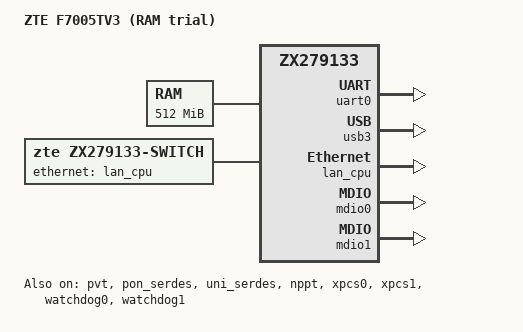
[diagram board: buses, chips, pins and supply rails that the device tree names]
// SPDX-License-Identifier: GPL-2.0-only OR BSD-2-Clause
// Experimental F7005TV3 RAM-only board tree. The ZX279133/512 MiB hardware
// identity comes from the running device tree. Ethernet details are adapted
// provisionally from another ZX279133 board and still require on-device proof.
// No flash partitions or LED GPIO mappings are included.
/dts-v1/;

#include "zx279133.dtsi"

/ {
	model = "ZTE F7005TV3 (RAM trial)";
	compatible = "zte,f7005tv3", "zte,zx279133";

	aliases {
		serial0 = &uart0;
		watchdog0 = &watchdog0;
		watchdog1 = &watchdog1;
	};

	chosen {
		stdout-path = "serial0:115200n8";

		bootargs = "console=ttyAMA0,115200n8 loglevel=8 panic=20";
	};

	memory@80000000 {
		device_type = "memory";
		reg = <0x0 0x80000000 0x0 0x20000000>;
	};

	reserved-memory {
		#address-cells = <2>;
		#size-cells = <2>;
		ranges;

		se_hash_reserved: buffer@9e100000 {
			reg = <0x0 0x9e100000 0x0 0x1000000>;
			no-map;
		};

		idm_reserved: buffer@9d700000 {
			reg = <0x0 0x9d700000 0x0 0xa00000>;
			no-map;
		};

		bmu_reserved: buffer@9c200000 {
			reg = <0x0 0x9c200000 0x0 0x1500000>;
			no-map;
		};

	};

	thermal-zones {
		soc-thermal {
			thermal-sensors = <&pvt>;
		};
	};

};

&uart0 {
	status = "okay";
};

&pvt {
	status = "okay";
};

&usb3 {
	status = "okay";
};

&pon_serdes {
	status = "okay";
};

&uni_serdes {
	status = "okay";
};

&nppt {

	phy-mode = "sgmii";
	phys = <&pon_serdes>, <&uni_serdes>;
	phy-names = "serdes", "lan-serdes";

	pcs-handle = <&xpcs1>;

	zte,np-pool-base = <0xb0000000>;
	zte,np-pool-size = <0x400000>;
	memory-region = <&bmu_reserved>, <&se_hash_reserved>, <&idm_reserved>;
	memory-region-names = "bmu", "se-hash", "idm";

	local-mac-address = [02 00 00 00 00 01];
	status = "okay";

	zx279133,uni-phy-bus = <&mdio0>;

	zx279133,outer-phy-bus = <&mdio1>;

	fixed-link {
		speed = <1000>;
		full-duplex;
	};

	lan_cpu: ethernet-lan-cpu {
		compatible = "zte,zx279133-lan-conduit";

		local-mac-address = [02 00 00 00 00 02];
	};

	switch {
		compatible = "zte,zx279133-switch";

		ports {
			#address-cells = <1>;
			#size-cells = <0>;

			port@4 {
				reg = <4>;
				label = "lan0";
				phy-mode = "internal";

				fixed-link {
					speed = <1000>;
					full-duplex;
				};
			};

			port@5 {
				reg = <5>;
				label = "lan2";
				phy-mode = "internal";

				fixed-link {
					speed = <1000>;
					full-duplex;
				};
			};

			port@6 {
				reg = <6>;
				label = "lan3";
				phy-mode = "internal";

				fixed-link {
					speed = <1000>;
					full-duplex;
				};
			};

			port@7 {
				reg = <7>;
				label = "lan4";
				phy-mode = "internal";

				fixed-link {
					speed = <1000>;
					full-duplex;
				};
			};

			port@8 {
				reg = <8>;
				label = "lan1";

				phy-mode = "2500base-x";

				fixed-link {
					speed = <2500>;
					full-duplex;
				};
			};

			port@9 {
				reg = <9>;
				ethernet = <&lan_cpu>;
				phy-mode = "sgmii";

				fixed-link {
					speed = <1000>;
					full-duplex;
				};
			};
		};
	};
};

&mdio0 {
	status = "okay";
};

&mdio1 {
	status = "okay";

};

&xpcs0 {
	status = "okay";
};

&xpcs1 {
	status = "okay";
};

&watchdog0 {
	status = "okay";
};

&watchdog1 {
	status = "okay";
};

&spifc {
	status = "disabled";
};
